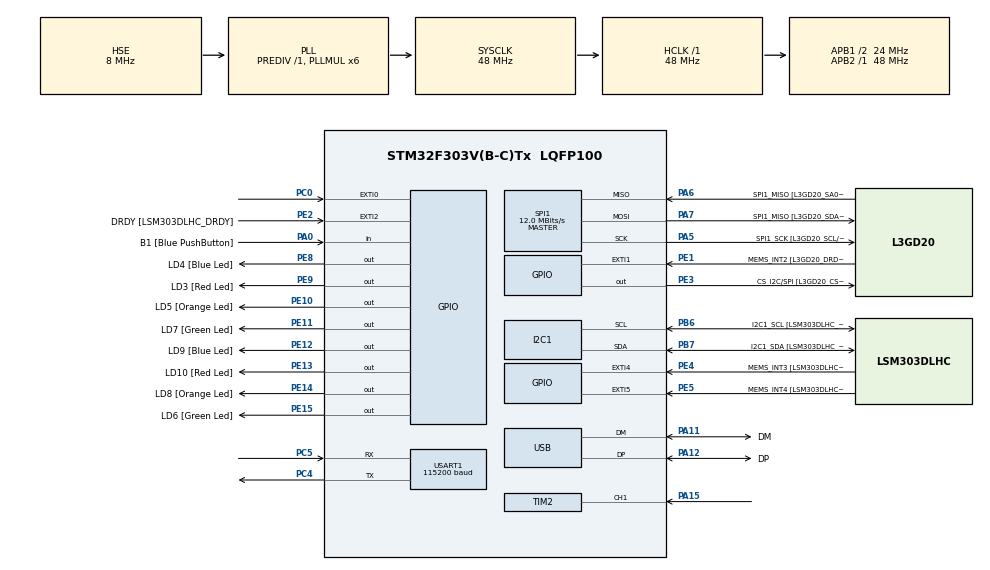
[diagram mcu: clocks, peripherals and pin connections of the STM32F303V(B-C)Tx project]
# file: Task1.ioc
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I2C1.Timing=0x00201D2B
I2C1.Timing-I2C=0x2000090E
Mcu.Family=STM32F3
Mcu.Name=STM32F303V(B-C)Tx
Mcu.Package=LQFP100
NVIC.EXTI0_IRQn=true\:0\:0\:false\:false\:true\:true\:true\:true
NVIC.PriorityGroup=NVIC_PRIORITYGROUP_0
NVIC.TIM2_IRQn=true\:0\:0\:false\:false\:true\:true\:true\:true
PA0.GPIO_Label=B1 [Blue PushButton]
PA0.Signal=GPIO_Input
PA11.GPIO_Label=DM
PA11.Mode=Device
PA11.Signal=USB_DM
PA12.GPIO_Label=DP
PA12.Mode=Device
PA12.Signal=USB_DP
PA13.GPIO_Label=SWDIO
PA13.Mode=Serial_Wire
PA13.Signal=SYS_JTMS-SWDIO
PA14.GPIO_Label=SWCLK
PA14.Mode=Serial_Wire
PA14.Signal=SYS_JTCK-SWCLK
PA15.Signal=S_TIM2_CH1_ETR
PA5.GPIO_Label=SPI1_SCK [L3GD20_SCL/SPC]
PA5.Mode=Full_Duplex_Master
PA5.Signal=SPI1_SCK
PA6.GPIO_Label=SPI1_MISO [L3GD20_SA0/SDO]
PA6.Mode=Full_Duplex_Master
PA6.Signal=SPI1_MISO
PA7.GPIO_Label=SPI1_MISO [L3GD20_SDA/SDI/SDO]
PA7.Mode=Full_Duplex_Master
PA7.Signal=SPI1_MOSI
PB3.GPIO_Label=SWO
PB3.Signal=SYS_JTDO-TRACESWO
PB6.GPIO_Label=I2C1_SCL [LSM303DLHC_SCL]
PB6.GPIO_Pu=GPIO_PULLUP
PB6.Mode=I2C
PB6.Signal=I2C1_SCL
PB7.GPIO_Label=I2C1_SDA [LSM303DLHC_SDA]
PB7.GPIO_Pu=GPIO_PULLUP
PB7.Mode=I2C
PB7.Signal=I2C1_SDA
PC0.GPIO_ModeDefaultEXTI=GPIO_MODE_IT_RISING
PC0.Signal=GPXTI0
PC14-OSC32_IN.GPIO_Label=OSC32_IN
PC14-OSC32_IN.Signal=RCC_OSC32_IN
PC15-OSC32_OUT.GPIO_Label=OSC32_OUT
PC15-OSC32_OUT.Signal=RCC_OSC32_OUT
PC4.Mode=Asynchronous
PC4.Signal=USART1_TX
PC5.Mode=Asynchronous
PC5.Signal=USART1_RX
PE1.GPIO_Label=MEMS_INT2 [L3GD20_DRDY/INT2]
PE1.GPIO_ModeDefaultEXTI=GPIO_MODE_EVT_RISING
PE1.Signal=GPXTI1
PE10.GPIO_Label=LD5 [Orange Led]
PE10.Signal=GPIO_Output
PE11.GPIO_Label=LD7 [Green Led]
PE11.Signal=GPIO_Output
PE12.GPIO_Label=LD9 [Blue Led]
PE12.Signal=GPIO_Output
PE13.GPIO_Label=LD10 [Red Led]
PE13.Signal=GPIO_Output
PE14.GPIO_Label=LD8 [Orange Led]
PE14.Signal=GPIO_Output
PE15.GPIO_Label=LD6 [Green Led]
PE15.Signal=GPIO_Output
PE2.GPIO_Label=DRDY [LSM303DLHC_DRDY]
PE2.GPIO_ModeDefaultEXTI=GPIO_MODE_EVT_RISING
PE2.Signal=GPXTI2
PE3.GPIO_Label=CS_I2C/SPI [L3GD20_CS_I2C/SPI]
PE3.Signal=GPIO_Output
PE4.GPIO_Label=MEMS_INT3 [LSM303DLHC_INT1]
PE4.GPIO_ModeDefaultEXTI=GPIO_MODE_EVT_RISING
PE4.Signal=GPXTI4
PE5.GPIO_Label=MEMS_INT4 [LSM303DLHC_INT2]
PE5.GPIO_ModeDefaultEXTI=GPIO_MODE_EVT_RISING
PE5.Signal=GPXTI5
PE8.GPIO_Label=LD4 [Blue Led]
PE8.Signal=GPIO_Output
PE9.GPIO_Label=LD3 [Red Led]
PE9.Signal=GPIO_Output
PF0-OSC_IN.GPIO_Label=OSC_IN
PF0-OSC_IN.Mode=HSE-External-Clock-Source
PF0-OSC_IN.Signal=RCC_OSC_IN
PF1-OSC_OUT.GPIO_Label=OSC_OUT
PF1-OSC_OUT.Signal=RCC_OSC_OUT
ProjectManager.HeapSize=0x200
ProjectManager.StackSize=0x400
ProjectManager.TargetToolchain=CMake
RCC.AHBFreq_Value=48000000
RCC.APB1CLKDivider=RCC_HCLK_DIV2
RCC.APB1Freq_Value=24000000
RCC.APB1TimFreq_Value=48000000
RCC.APB2Freq_Value=48000000
RCC.APB2TimFreq_Value=48000000
RCC.CortexFreq_Value=48000000
RCC.HCLKFreq_Value=48000000
RCC.HSE_VALUE=8000000
RCC.HSI_VALUE=8000000
RCC.LSE_VALUE=32768
RCC.PLLMUL=RCC_PLL_MUL6
RCC.SYSCLKFreq_VALUE=48000000
RCC.SYSCLKSourceVirtual=RCC_SYSCLKSOURCE_PLLCLK
RCC.USBFreq_Value=48000000
SH.S_TIM2_CH1_ETR.0=TIM2_CH1,Input_Capture1_from_TI1
SPI1.BaudRatePrescaler=SPI_BAUDRATEPRESCALER_4
SPI1.BaudRatePrescaler-Full_Duplex_Master=SPI_BAUDRATEPRESCALER_2
SPI1.CalculateBaudRate=12.0 MBits/s
SPI1.CalculateBaudRate-Full_Duplex_Master=24.0 MBits/s
SPI1.Direction=SPI_DIRECTION_2LINES
SPI1.Mode=SPI_MODE_MASTER
SPI1.Mode-Full_Duplex_Master=SPI_MODE_MASTER
SPI1.VirtualType=VM_MASTER
TIM2.Channel-Input_Capture1_from_TI1=TIM_CHANNEL_1
TIM2.Prescaler=9
USART1.BaudRate=115200
USART1.VirtualMode-Asynchronous=VM_ASYNC
VP_TIM2_VS_ClockSourceINT.Mode=Internal
board=STM32F3DISCOVERY

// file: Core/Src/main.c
/* USER CODE BEGIN Header */
/**
  ******************************************************************************
  * @file           : main.c
  * @brief          : Main program body
  ******************************************************************************
  * @attention
  *
  * Copyright (c) 2026 STMicroelectronics.
  * All rights reserved.
  *
  * This software is licensed under terms that can be found in the LICENSE file
  * in the root directory of this software component.
  * If no LICENSE file comes with this software, it is provided AS-IS.
  *
  ******************************************************************************
  */
/* USER CODE END Header */
#include "main.h"

/* USER CODE BEGIN Includes */
#include <stdio.h>
#include <string.h>
#include <stdint.h>
/* USER CODE END Includes */

/* USER CODE BEGIN PD */
#define N 10
uint32_t vals[N];
uint8_t Index = 0;
uint8_t firstEdge = 1;
uint8_t flagPrinting = 0;
/* USER CODE END PD */

I2C_HandleTypeDef hi2c1;

SPI_HandleTypeDef hspi1;

TIM_HandleTypeDef htim2;

UART_HandleTypeDef huart1;

PCD_HandleTypeDef hpcd_USB_FS;

void SystemClock_Config(void);
static void MX_GPIO_Init(void);
static void MX_I2C1_Init(void);
static void MX_SPI1_Init(void);
static void MX_TIM2_Init(void);
static void MX_USB_PCD_Init(void);
static void MX_USART1_UART_Init(void);

/* USER CODE BEGIN 0 */

void print_uart(const char* msg) {
  HAL_UART_Transmit(&huart1, (uint8_t*)msg, strlen(msg), HAL_MAX_DELAY);
}

void HAL_GPIO_EXTI_Callback(uint16_t GPIO_Pin)
{
  if (GPIO_Pin == GPIO_PIN_0) {

  if(firstEdge) {
    __HAL_TIM_SET_COUNTER(&htim2, 0); // start
    firstEdge = 0;

  } else {
    vals[Index++] = __HAL_TIM_GET_COUNTER(&htim2);
    firstEdge = 1;
    if(Index >= N){
      Index = 0;
      flagPrinting = 1;
    }
  }
}
}

/* USER CODE END 0 */

int main(void)
{

  /* MCU Configuration--------------------------------------------------------*/

  /* Reset of all peripherals, Initializes the Flash interface and the Systick. */
  HAL_Init();

  /* Configure the system clock */
  SystemClock_Config();

  /* Initialize all configured peripherals */
  MX_GPIO_Init();
  MX_I2C1_Init();
  MX_SPI1_Init();
  MX_TIM2_Init();
  MX_USB_PCD_Init();
  MX_USART1_UART_Init();
  /* USER CODE BEGIN 2 */
  HAL_TIM_Base_Start(&htim2);
  /* USER CODE END 2 */

  /* Infinite loop */
  /* USER CODE BEGIN WHILE */
  char msg[100];
  while (1)
  {
    HAL_Delay(1000);
    /* USER CODE END WHILE */
    if(flagPrinting) {
      // flagPrinting = 0;
      uint32_t sum = 0;
      for(int i = 0; i < N; i++) {
        sum += vals[i];
      }

      uint32_t avg = sum / N;

      uint32_t freq = 48000000 / (avg);
      // sprintf(msg, "Freq: %d +/- Hz\r\n", freq);
      // Freq: %lu Hz\r\n
      sprintf(msg, "Freq: %lu Hz\r\n", freq);
      print_uart(msg);

      flagPrinting = 0; }
  }
}

void SystemClock_Config(void)
{
  RCC_OscInitTypeDef RCC_OscInitStruct = {0};
  RCC_ClkInitTypeDef RCC_ClkInitStruct = {0};
  RCC_PeriphCLKInitTypeDef PeriphClkInit = {0};

  /** Initializes the RCC Oscillators according to the specified parameters
  * in the RCC_OscInitTypeDef structure.
  */
  RCC_OscInitStruct.OscillatorType = RCC_OSCILLATORTYPE_HSI|RCC_OSCILLATORTYPE_HSE;
  RCC_OscInitStruct.HSEState = RCC_HSE_BYPASS;
  RCC_OscInitStruct.HSEPredivValue = RCC_HSE_PREDIV_DIV1;
  RCC_OscInitStruct.HSIState = RCC_HSI_ON;
  RCC_OscInitStruct.HSICalibrationValue = RCC_HSICALIBRATION_DEFAULT;
  RCC_OscInitStruct.PLL.PLLState = RCC_PLL_ON;
  RCC_OscInitStruct.PLL.PLLSource = RCC_PLLSOURCE_HSE;
  RCC_OscInitStruct.PLL.PLLMUL = RCC_PLL_MUL6;
  if (HAL_RCC_OscConfig(&RCC_OscInitStruct) != HAL_OK)
  {
    Error_Handler();
  }

  /** Initializes the CPU, AHB and APB buses clocks
  */
  RCC_ClkInitStruct.ClockType = RCC_CLOCKTYPE_HCLK|RCC_CLOCKTYPE_SYSCLK
                              |RCC_CLOCKTYPE_PCLK1|RCC_CLOCKTYPE_PCLK2;
  RCC_ClkInitStruct.SYSCLKSource = RCC_SYSCLKSOURCE_PLLCLK;
  RCC_ClkInitStruct.AHBCLKDivider = RCC_SYSCLK_DIV1;
  RCC_ClkInitStruct.APB1CLKDivider = RCC_HCLK_DIV2;
  RCC_ClkInitStruct.APB2CLKDivider = RCC_HCLK_DIV1;

  if (HAL_RCC_ClockConfig(&RCC_ClkInitStruct, FLASH_LATENCY_1) != HAL_OK)
  {
    Error_Handler();
  }
  PeriphClkInit.PeriphClockSelection = RCC_PERIPHCLK_USB|RCC_PERIPHCLK_USART1
                              |RCC_PERIPHCLK_I2C1;
  PeriphClkInit.Usart1ClockSelection = RCC_USART1CLKSOURCE_PCLK2;
  PeriphClkInit.I2c1ClockSelection = RCC_I2C1CLKSOURCE_HSI;
  PeriphClkInit.USBClockSelection = RCC_USBCLKSOURCE_PLL;
  if (HAL_RCCEx_PeriphCLKConfig(&PeriphClkInit) != HAL_OK)
  {
    Error_Handler();
  }
}

static void MX_I2C1_Init(void)
{

  hi2c1.Instance = I2C1;
  hi2c1.Init.Timing = 0x00201D2B;
  hi2c1.Init.OwnAddress1 = 0;
  hi2c1.Init.AddressingMode = I2C_ADDRESSINGMODE_7BIT;
  hi2c1.Init.DualAddressMode = I2C_DUALADDRESS_DISABLE;
  hi2c1.Init.OwnAddress2 = 0;
  hi2c1.Init.OwnAddress2Masks = I2C_OA2_NOMASK;
  hi2c1.Init.GeneralCallMode = I2C_GENERALCALL_DISABLE;
  hi2c1.Init.NoStretchMode = I2C_NOSTRETCH_DISABLE;
  if (HAL_I2C_Init(&hi2c1) != HAL_OK)
  {
    Error_Handler();
  }

  /** Configure Analogue filter
  */
  if (HAL_I2CEx_ConfigAnalogFilter(&hi2c1, I2C_ANALOGFILTER_ENABLE) != HAL_OK)
  {
    Error_Handler();
  }

  /** Configure Digital filter
  */
  if (HAL_I2CEx_ConfigDigitalFilter(&hi2c1, 0) != HAL_OK)
  {
    Error_Handler();
  }

}

static void MX_SPI1_Init(void)
{

  /* SPI1 parameter configuration*/
  hspi1.Instance = SPI1;
  hspi1.Init.Mode = SPI_MODE_MASTER;
  hspi1.Init.Direction = SPI_DIRECTION_2LINES;
  hspi1.Init.DataSize = SPI_DATASIZE_4BIT;
  hspi1.Init.CLKPolarity = SPI_POLARITY_LOW;
  hspi1.Init.CLKPhase = SPI_PHASE_1EDGE;
  hspi1.Init.NSS = SPI_NSS_SOFT;
  hspi1.Init.BaudRatePrescaler = SPI_BAUDRATEPRESCALER_4;
  hspi1.Init.FirstBit = SPI_FIRSTBIT_MSB;
  hspi1.Init.TIMode = SPI_TIMODE_DISABLE;
  hspi1.Init.CRCCalculation = SPI_CRCCALCULATION_DISABLE;
  hspi1.Init.CRCPolynomial = 7;
  hspi1.Init.CRCLength = SPI_CRC_LENGTH_DATASIZE;
  hspi1.Init.NSSPMode = SPI_NSS_PULSE_ENABLE;
  if (HAL_SPI_Init(&hspi1) != HAL_OK)
  {
    Error_Handler();
  }

}

static void MX_TIM2_Init(void)
{

  TIM_ClockConfigTypeDef sClockSourceConfig = {0};
  TIM_MasterConfigTypeDef sMasterConfig = {0};
  TIM_IC_InitTypeDef sConfigIC = {0};

  htim2.Instance = TIM2;
  htim2.Init.Prescaler = 9;
  htim2.Init.CounterMode = TIM_COUNTERMODE_UP;
  htim2.Init.Period = 4294967295;
  htim2.Init.ClockDivision = TIM_CLOCKDIVISION_DIV1;
  htim2.Init.AutoReloadPreload = TIM_AUTORELOAD_PRELOAD_DISABLE;
  if (HAL_TIM_Base_Init(&htim2) != HAL_OK)
  {
    Error_Handler();
  }
  sClockSourceConfig.ClockSource = TIM_CLOCKSOURCE_INTERNAL;
  if (HAL_TIM_ConfigClockSource(&htim2, &sClockSourceConfig) != HAL_OK)
  {
    Error_Handler();
  }
  if (HAL_TIM_IC_Init(&htim2) != HAL_OK)
  {
    Error_Handler();
  }
  sMasterConfig.MasterOutputTrigger = TIM_TRGO_RESET;
  sMasterConfig.MasterSlaveMode = TIM_MASTERSLAVEMODE_DISABLE;
  if (HAL_TIMEx_MasterConfigSynchronization(&htim2, &sMasterConfig) != HAL_OK)
  {
    Error_Handler();
  }
  sConfigIC.ICPolarity = TIM_INPUTCHANNELPOLARITY_RISING;
  sConfigIC.ICSelection = TIM_ICSELECTION_DIRECTTI;
  sConfigIC.ICPrescaler = TIM_ICPSC_DIV1;
  sConfigIC.ICFilter = 0;
  if (HAL_TIM_IC_ConfigChannel(&htim2, &sConfigIC, TIM_CHANNEL_1) != HAL_OK)
  {
    Error_Handler();
  }

}

static void MX_USART1_UART_Init(void)
{

  huart1.Instance = USART1;
  huart1.Init.BaudRate = 115200;
  huart1.Init.WordLength = UART_WORDLENGTH_8B;
  huart1.Init.StopBits = UART_STOPBITS_1;
  huart1.Init.Parity = UART_PARITY_NONE;
  huart1.Init.Mode = UART_MODE_TX_RX;
  huart1.Init.HwFlowCtl = UART_HWCONTROL_NONE;
  huart1.Init.OverSampling = UART_OVERSAMPLING_16;
  huart1.Init.OneBitSampling = UART_ONE_BIT_SAMPLE_DISABLE;
  huart1.AdvancedInit.AdvFeatureInit = UART_ADVFEATURE_NO_INIT;
  if (HAL_UART_Init(&huart1) != HAL_OK)
  {
    Error_Handler();
  }

}

static void MX_USB_PCD_Init(void)
{

  hpcd_USB_FS.Instance = USB;
  hpcd_USB_FS.Init.dev_endpoints = 8;
  hpcd_USB_FS.Init.speed = PCD_SPEED_FULL;
  hpcd_USB_FS.Init.phy_itface = PCD_PHY_EMBEDDED;
  hpcd_USB_FS.Init.low_power_enable = DISABLE;
  hpcd_USB_FS.Init.battery_charging_enable = DISABLE;
  if (HAL_PCD_Init(&hpcd_USB_FS) != HAL_OK)
  {
    Error_Handler();
  }

}

static void MX_GPIO_Init(void)
{
  GPIO_InitTypeDef GPIO_InitStruct = {0};

  /* GPIO Ports Clock Enable */
  __HAL_RCC_GPIOE_CLK_ENABLE();
  __HAL_RCC_GPIOC_CLK_ENABLE();
  __HAL_RCC_GPIOF_CLK_ENABLE();
  __HAL_RCC_GPIOA_CLK_ENABLE();
  __HAL_RCC_GPIOB_CLK_ENABLE();

  /*Configure GPIO pin Output Level */
  HAL_GPIO_WritePin(GPIOE, CS_I2C_SPI_Pin|LD4_Pin|LD3_Pin|LD5_Pin
                          |LD7_Pin|LD9_Pin|LD10_Pin|LD8_Pin
                          |LD6_Pin, GPIO_PIN_RESET);

  /*Configure GPIO pins : DRDY_Pin MEMS_INT3_Pin MEMS_INT4_Pin MEMS_INT2_Pin */
  GPIO_InitStruct.Pin = DRDY_Pin|MEMS_INT3_Pin|MEMS_INT4_Pin|MEMS_INT2_Pin;
  GPIO_InitStruct.Mode = GPIO_MODE_EVT_RISING;
  GPIO_InitStruct.Pull = GPIO_NOPULL;
  HAL_GPIO_Init(GPIOE, &GPIO_InitStruct);

  /*Configure GPIO pins : CS_I2C_SPI_Pin LD4_Pin LD3_Pin LD5_Pin
                           LD7_Pin LD9_Pin LD10_Pin LD8_Pin
                           LD6_Pin */
  GPIO_InitStruct.Pin = CS_I2C_SPI_Pin|LD4_Pin|LD3_Pin|LD5_Pin
                          |LD7_Pin|LD9_Pin|LD10_Pin|LD8_Pin
                          |LD6_Pin;
  GPIO_InitStruct.Mode = GPIO_MODE_OUTPUT_PP;
  GPIO_InitStruct.Pull = GPIO_NOPULL;
  GPIO_InitStruct.Speed = GPIO_SPEED_FREQ_LOW;
  HAL_GPIO_Init(GPIOE, &GPIO_InitStruct);

  /*Configure GPIO pin : PC0 */
  GPIO_InitStruct.Pin = GPIO_PIN_0;
  GPIO_InitStruct.Mode = GPIO_MODE_IT_RISING;
  GPIO_InitStruct.Pull = GPIO_NOPULL;
  HAL_GPIO_Init(GPIOC, &GPIO_InitStruct);

  /*Configure GPIO pin : B1_Pin */
  GPIO_InitStruct.Pin = B1_Pin;
  GPIO_InitStruct.Mode = GPIO_MODE_INPUT;
  GPIO_InitStruct.Pull = GPIO_NOPULL;
  HAL_GPIO_Init(B1_GPIO_Port, &GPIO_InitStruct);

  /* EXTI interrupt init*/
  HAL_NVIC_SetPriority(EXTI0_IRQn, 0, 0);
  HAL_NVIC_EnableIRQ(EXTI0_IRQn);

  /* USER CODE BEGIN MX_GPIO_Init_2 */
    HAL_NVIC_SetPriority(EXTI0_IRQn, 0, 0);
    HAL_NVIC_EnableIRQ(EXTI0_IRQn);
  /* USER CODE END MX_GPIO_Init_2 */
}

void Error_Handler(void)
{
  __disable_irq();
  while (1)
  {
  }
}
